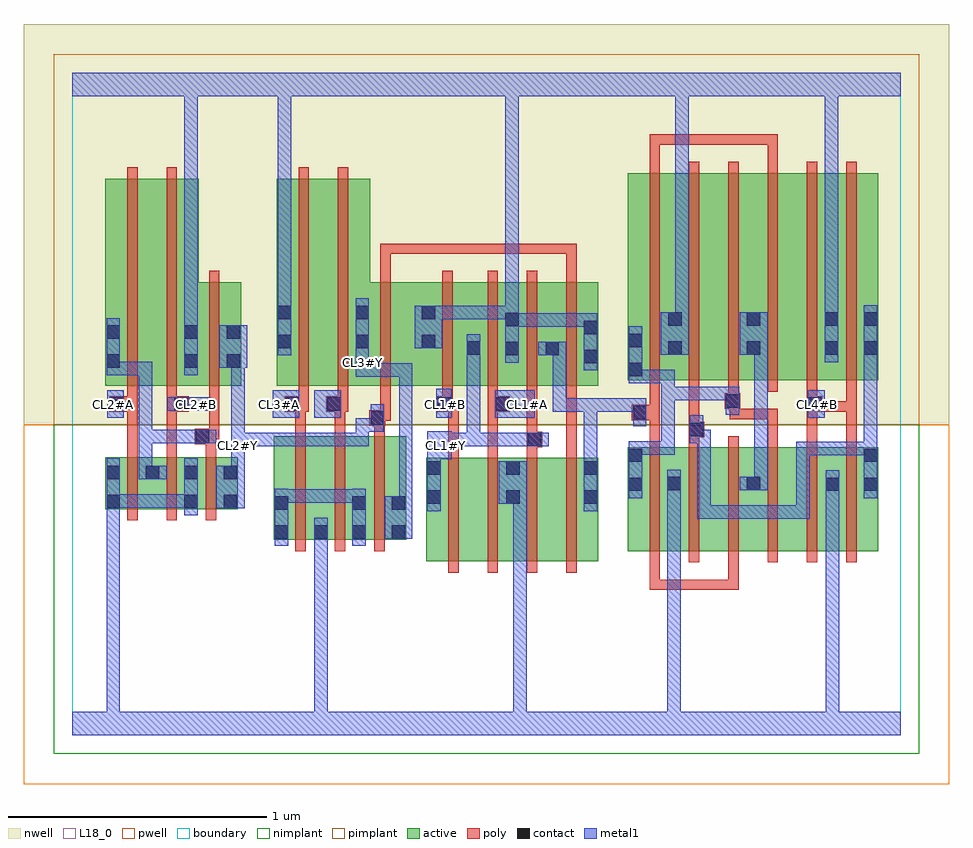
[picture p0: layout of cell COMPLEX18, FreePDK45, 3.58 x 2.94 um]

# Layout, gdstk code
import gdstk
lib = gdstk.Library(unit=1e-6, precision=1e-09)
def R(c, l, rs):  # rectangles x0, y0, x1, y1
    for r in rs: c.add(gdstk.rectangle(r[:2], r[2:], *l))
def A(c, l, x, y, w, h, nx, ny, dx, dy):  # array of equal rectangles
    R(c, l, [(x+i*dx, y+j*dy, x+i*dx+w, y+j*dy+h) for i in range(nx) for j in range(ny)])
active = (1, 0)
pwell = (2, 0)
nwell = (3, 0)
nimplant = (4, 0)
pimplant = (5, 0)
poly = (9, 0)
contact = (10, 0)
metal1 = (11, 0)
L18_0 = (18, 0)
boundary = (235, 0)

complex18 = lib.new_cell('COMPLEX18')
R(complex18, active, [(1.368,0.672,1.548,1.072), (1.548,0.672,1.732,1.072), (1.672,0.672,1.852,1.072), (1.852,0.672,2.032,1.072), (2.146,0.712,2.354,1.112), (2.294,0.712,2.478,1.112), (2.478,0.712,2.662,1.112), (2.602,0.712,2.782,1.112), (2.782,0.712,2.966,1.112), (2.906,0.712,3.114,1.112), (0.778,0.756,0.838,1.156), (0.778,0.756,0.99,1.156), (0.93,0.756,1.138,1.156), (0.93,0.756,0.99,1.156), (1.078,0.756,1.138,1.156), (1.078,0.756,1.29,1.156), (1.23,0.756,1.29,1.156), (1.368,0.756,1.428,1.072), (1.672,0.756,1.732,1.072), (1.972,0.756,2.032,1.072), (2.146,0.756,2.206,1.112), (2.294,0.756,2.354,1.112), (2.602,0.756,2.662,1.112), (2.906,0.756,2.966,1.112), (3.054,0.756,3.114,1.112), (0.128,0.874,0.188,1.074), (0.128,0.874,0.34,1.074), (0.28,0.874,0.488,1.074), (0.428,0.874,0.488,1.074), (0.428,0.874,0.64,1.074), (0.58,0.874,0.64,1.074), (0.28,0.956,0.34,1.074), (0.128,1.35,0.308,2.15), (0.128,1.35,0.188,2.044), (0.308,1.35,0.488,2.15), (0.428,1.35,0.652,1.75), (0.592,1.35,0.652,1.644), (0.79,1.35,0.97,2.15), (0.79,1.35,0.85,2.044), (0.97,1.35,1.15,2.15), (1.09,1.35,1.15,1.664), (1.09,1.35,1.406,1.75), (1.346,1.35,1.58,1.75), (1.346,1.35,1.406,1.664), (1.52,1.35,1.728,1.75), (1.52,1.35,1.58,1.644), (1.668,1.35,1.728,1.644), (1.668,1.35,1.884,1.75), (1.824,1.35,2.032,1.75), (1.824,1.35,1.884,1.644), (1.972,1.35,2.032,1.644), (2.146,1.372,2.206,2.044), (2.146,1.372,2.358,2.172), (2.298,1.372,2.478,2.172), (2.478,1.372,2.662,2.172), (2.602,1.372,2.782,2.172), (2.782,1.372,2.962,2.172), (2.902,1.372,3.114,2.172), (3.054,1.372,3.114,2.044), (0.428,1.416,0.488,1.644), (2.298,1.466,2.358,2.044), (2.602,1.466,2.662,2.044), (2.902,1.466,2.962,2.044)])
R(complex18, pwell, [(-0.188,-0.188,3.388,1.2)])
R(complex18, nwell, [(-0.188,1.2,3.388,2.748)])
R(complex18, nimplant, [(-0.072,-0.072,3.272,1.2)])
R(complex18, pimplant, [(-0.072,1.2,3.272,2.632)])
A(complex18, poly, 1.452, 0.628, 0.04, 0.488, 4, 1, 0.152, 0)
A(complex18, poly, 2.23, 0.668, 0.04, 0.488, 6, 1, 0.152, 0)
A(complex18, poly, 0.862, 0.712, 0.04, 0.488, 3, 1, 0.152, 0)
A(complex18, poly, 0.212, 0.83, 0.04, 0.288, 3, 1, 0.152, 0)
A(complex18, poly, 1.604, 1.306, 0.04, 0.488, 3, 1, 0.152, 0)
A(complex18, poly, 2.23, 1.328, 0.04, 0.888, 6, 1, 0.152, 0)
R(complex18, poly, [(2.23,0.562,2.27,0.602), (2.23,0.562,2.27,0.602), (2.23,0.562,2.27,0.602), (2.23,0.562,2.27,0.708), (2.23,0.562,2.454,0.602), (2.414,0.562,2.454,0.602), (2.414,0.562,2.454,0.602), (2.414,0.562,2.454,0.602), (2.414,0.562,2.574,0.602), (2.534,0.562,2.574,0.602), (2.534,0.562,2.574,0.708), (1.452,1.076,1.492,1.29), (1.604,1.076,1.644,1.29), (1.756,1.076,1.796,1.152), (1.908,1.076,1.948,1.31), (0.212,1.078,0.252,1.29), (0.364,1.078,0.404,1.29), (0.516,1.078,0.556,1.164), (1.756,1.112,1.816,1.172), (2.23,1.116,2.27,1.258), (2.382,1.116,2.422,1.192), (2.686,1.116,2.726,1.262), (2.838,1.116,2.878,1.29), (2.99,1.116,3.03,1.29), (0.472,1.124,0.556,1.184), (1.756,1.132,1.796,1.172), (1.756,1.132,1.796,1.172), (1.756,1.132,1.796,1.346), (0.516,1.144,0.556,1.184), (0.516,1.144,0.568,1.184), (0.528,1.144,0.568,1.346), (2.382,1.152,2.442,1.212), (0.862,1.16,0.902,1.29), (1.014,1.16,1.054,1.29), (1.166,1.16,1.206,1.236), (2.382,1.172,2.422,1.212), (2.382,1.172,2.422,1.212), (2.382,1.172,2.422,1.368), (1.148,1.196,1.208,1.256), (1.168,1.216,1.208,1.256), (1.168,1.216,1.23,1.256), (1.19,1.216,1.23,1.346), (2.162,1.218,2.27,1.278), (2.23,1.218,2.27,1.258), (2.23,1.218,2.27,1.258), (2.54,1.222,2.726,1.262), (2.54,1.222,2.58,1.302), (2.686,1.222,2.726,1.262), (2.686,1.222,2.726,1.262), (2.686,1.222,2.726,1.262), (2.23,1.238,2.27,1.368), (0.142,1.25,0.252,1.31), (0.364,1.25,0.404,1.29), (0.364,1.25,0.404,1.29), (0.364,1.25,0.45,1.31), (0.82,1.25,0.914,1.31), (0.862,1.25,0.902,1.29), (0.862,1.25,0.902,1.29), (0.98,1.25,1.066,1.31), (1.014,1.25,1.054,1.29), (1.014,1.25,1.054,1.29), (1.41,1.25,1.47,1.31), (1.43,1.25,1.47,1.29), (1.43,1.25,1.492,1.29), (1.604,1.25,1.644,1.29), (1.604,1.25,1.644,1.29), (1.604,1.25,1.69,1.31), (2.838,1.25,2.878,1.29), (2.838,1.25,2.878,1.29), (2.838,1.25,2.878,1.29), (2.838,1.25,2.878,1.29), (2.838,1.25,3.03,1.29), (2.838,1.25,2.898,1.31), (2.99,1.25,3.03,1.368), (2.99,1.25,3.03,1.29), (2.99,1.25,3.03,1.29), (2.99,1.25,3.03,1.29), (2.52,1.262,2.58,1.322), (2.54,1.262,2.58,1.302), (0.212,1.27,0.252,1.31), (0.212,1.27,0.252,1.31), (0.212,1.27,0.252,1.346), (0.364,1.27,0.404,1.346), (0.874,1.27,0.914,1.346), (1.026,1.27,1.066,1.346), (1.43,1.27,1.47,1.346), (1.604,1.27,1.644,1.346), (1.908,1.27,1.948,1.31), (1.908,1.27,1.948,1.31), (1.908,1.27,1.948,1.31), (1.908,1.27,1.948,1.346), (2.838,1.27,2.878,1.368), (2.534,1.282,2.574,1.368), (0.212,1.306,0.252,2.194), (0.364,1.306,0.404,2.194), (0.528,1.306,0.568,1.794), (0.874,1.306,0.914,2.194), (1.026,1.306,1.066,2.194), (1.19,1.306,1.23,1.794), (1.43,1.306,1.47,1.794), (1.19,1.754,1.23,1.9), (1.908,1.754,1.948,1.9), (1.19,1.86,1.23,1.9), (1.19,1.86,1.23,1.9), (1.19,1.86,1.23,1.9), (1.19,1.86,1.336,1.9), (1.296,1.86,1.336,1.9), (1.296,1.86,1.336,1.9), (1.296,1.86,1.336,1.9), (1.296,1.86,1.572,1.9), (1.532,1.86,1.572,1.9), (1.532,1.86,1.572,1.9), (1.532,1.86,1.572,1.9), (1.532,1.86,1.678,1.9), (1.638,1.86,1.678,1.9), (1.638,1.86,1.678,1.9), (1.638,1.86,1.678,1.9), (1.638,1.86,1.948,1.9), (1.908,1.86,1.948,1.9), (1.908,1.86,1.948,1.9), (1.908,1.86,1.948,1.9), (2.23,2.176,2.27,2.322), (2.686,2.176,2.726,2.322), (2.23,2.282,2.27,2.322), (2.23,2.282,2.27,2.322), (2.23,2.282,2.27,2.322), (2.23,2.282,2.454,2.322), (2.414,2.282,2.454,2.322), (2.414,2.282,2.454,2.322), (2.414,2.282,2.454,2.322), (2.414,2.282,2.62,2.322), (2.58,2.282,2.62,2.322), (2.58,2.282,2.62,2.322), (2.58,2.282,2.62,2.322), (2.58,2.282,2.726,2.322), (2.686,2.282,2.726,2.322)])
R(complex18, contact, [(0.782,0.76,0.834,0.812), (0.934,0.76,0.986,0.812), (1.082,0.76,1.134,0.812), (1.234,0.76,1.286,0.812), (0.782,0.872,0.834,0.924), (1.082,0.872,1.134,0.924), (1.234,0.872,1.286,0.924), (0.132,0.878,0.184,0.93), (0.432,0.878,0.484,0.93), (0.584,0.878,0.636,0.93), (1.372,0.894,1.424,0.946), (1.676,0.894,1.728,0.946), (1.976,0.894,2.028,0.946), (2.15,0.944,2.202,0.996), (2.91,0.944,2.962,0.996), (3.058,0.944,3.11,0.996), (2.298,0.946,2.35,0.998), (2.606,0.946,2.658,0.998), (0.132,0.99,0.184,1.042), (0.284,0.99,0.336,1.042), (0.432,0.99,0.484,1.042), (0.584,0.99,0.636,1.042), (1.372,1.006,1.424,1.058), (1.676,1.006,1.728,1.058), (1.976,1.006,2.028,1.058), (2.15,1.056,2.202,1.108), (3.058,1.056,3.11,1.108), (1.76,1.116,1.812,1.168), (0.476,1.128,0.528,1.18), (2.386,1.156,2.438,1.208), (1.152,1.2,1.204,1.252), (2.166,1.222,2.218,1.274), (0.146,1.254,0.198,1.306), (0.394,1.254,0.446,1.306), (0.824,1.254,0.876,1.306), (0.984,1.254,1.036,1.306), (1.414,1.254,1.466,1.306), (1.634,1.254,1.686,1.306), (2.842,1.254,2.894,1.306), (2.524,1.266,2.576,1.318), (2.15,1.388,2.202,1.44), (0.132,1.42,0.184,1.472), (0.432,1.42,0.484,1.472), (0.596,1.42,0.648,1.472), (1.976,1.438,2.028,1.49), (1.672,1.468,1.724,1.52), (1.828,1.468,1.88,1.52), (1.524,1.47,1.576,1.522), (2.302,1.47,2.354,1.522), (2.606,1.47,2.658,1.522), (2.906,1.47,2.958,1.522), (3.058,1.47,3.11,1.522), (0.794,1.496,0.846,1.548), (1.094,1.496,1.146,1.548), (1.35,1.496,1.402,1.548), (2.15,1.5,2.202,1.552), (0.132,1.532,0.184,1.584), (0.432,1.532,0.484,1.584), (0.596,1.532,0.648,1.584), (1.976,1.55,2.028,1.602), (1.672,1.58,1.724,1.632), (2.302,1.582,2.354,1.634), (2.606,1.582,2.658,1.634), (2.906,1.582,2.958,1.634), (3.058,1.582,3.11,1.634), (0.794,1.608,0.846,1.66), (1.094,1.608,1.146,1.66), (1.35,1.608,1.402,1.66)])
A(complex18, metal1, 2.576, 0.836, 0.052, 0.052, 3, 1, 0.11, 0)
R(complex18, metal1, [(0,0,3.2,0.092), (0.132,0.04,0.184,0.902), (0.934,0.04,0.986,0.092), (0.934,0.04,0.986,0.092), (0.934,0.04,0.986,0.092), (0.934,0.04,0.986,0.092), (0.934,0.04,0.986,0.092), (0.934,0.04,0.986,0.092), (0.934,0.04,0.986,0.092), (0.934,0.04,0.986,0.092), (0.934,0.04,0.986,0.092), (0.934,0.04,0.986,0.092), (0.934,0.04,0.986,0.784), (1.704,0.04,1.756,0.092), (1.704,0.04,1.756,0.092), (1.704,0.04,1.756,0.092), (1.704,0.04,1.756,0.092), (1.704,0.04,1.756,0.092), (1.704,0.04,1.756,0.092), (1.704,0.04,1.756,0.092), (1.704,0.04,1.756,0.092), (1.704,0.04,1.756,0.092), (1.704,0.04,1.756,0.092), (1.704,0.04,1.756,0.092), (1.704,0.04,1.756,0.092), (1.704,0.04,1.756,0.946), (2.298,0.04,2.35,0.092), (2.298,0.04,2.35,0.092), (2.298,0.04,2.35,0.092), (2.298,0.04,2.35,0.092), (2.298,0.04,2.35,0.092), (2.298,0.04,2.35,0.092), (2.298,0.04,2.35,0.97), (2.91,0.04,2.962,0.092), (2.91,0.04,2.962,0.092), (2.91,0.04,2.962,0.092), (2.91,0.04,2.962,0.092), (2.91,0.04,2.962,0.092), (2.91,0.04,2.962,0.092), (2.91,0.04,2.962,0.092), (2.91,0.04,2.962,0.092), (2.91,0.04,2.962,0.092), (2.91,0.04,2.962,0.092), (2.91,0.04,2.962,0.092), (2.91,0.04,2.962,0.092), (2.91,0.04,2.962,0.968), (0.782,0.732,0.834,0.952), (0.934,0.732,0.986,0.784), (0.934,0.732,0.986,0.784), (0.934,0.732,0.986,0.84), (1.082,0.732,1.134,0.952), (1.206,0.76,1.314,0.924), (2.414,0.836,2.466,0.888), (2.414,0.836,2.628,0.888), (2.414,0.836,2.466,1.18), (2.576,0.836,2.628,0.888), (2.576,0.836,2.628,0.888), (2.576,0.836,2.738,0.888), (2.686,0.836,2.848,0.888), (2.796,0.836,2.848,1.134), (0.132,0.85,0.184,0.902), (0.132,0.85,0.184,0.902), (0.132,0.85,0.184,0.902), (0.132,0.85,0.184,0.902), (0.132,0.85,0.184,0.902), (0.132,0.85,0.184,0.902), (0.132,0.85,0.184,0.902), (0.132,0.85,0.184,0.902), (0.132,0.85,0.184,0.902), (0.132,0.85,0.184,0.902), (0.132,0.85,0.184,0.902), (0.132,0.85,0.184,0.902), (0.132,0.85,0.184,0.902), (0.132,0.85,0.184,0.902), (0.132,0.85,0.184,0.902), (0.132,0.85,0.184,0.902), (0.132,0.85,0.184,1.07), (0.432,0.85,0.484,1.07), (1.372,0.866,1.424,1.086), (1.976,0.866,2.028,1.086), (1.262,0.872,1.314,0.924), (1.262,0.872,1.314,0.924), (1.262,0.872,1.314,1.438), (0.556,0.878,0.666,1.042), (0.132,0.88,0.184,0.932), (0.132,0.88,0.184,0.932), (0.132,0.88,0.374,0.932), (0.322,0.88,0.374,0.932), (0.322,0.88,0.374,0.932), (0.322,0.88,0.374,0.932), (0.322,0.88,0.484,0.932), (1.648,0.894,1.756,1.058), (0.782,0.898,0.834,0.95), (0.782,0.898,0.834,0.95), (0.782,0.898,1.024,0.95), (0.972,0.898,1.024,0.95), (0.972,0.898,1.024,0.95), (0.972,0.898,1.024,0.95), (0.972,0.898,1.134,0.95), (2.15,0.916,2.202,1.136), (2.91,0.916,2.962,1.024), (3.058,0.916,3.11,1.136), (2.298,0.918,2.35,0.97), (2.298,0.918,2.35,0.97), (2.298,0.918,2.35,0.97), (2.298,0.918,2.35,0.97), (2.298,0.918,2.35,0.97), (2.298,0.918,2.35,0.97), (2.298,0.918,2.35,1.026), (2.578,0.946,2.686,0.998), (2.634,0.946,2.686,1.522), (0.256,0.99,0.364,1.042), (0.256,0.99,0.308,1.18), (0.614,0.99,0.666,1.118), (1.372,1.034,1.424,1.118), (1.976,1.034,2.028,1.302), (0.614,1.066,0.666,1.174), (1.372,1.066,1.466,1.174), (2.796,1.082,2.848,1.134), (2.796,1.082,2.848,1.134), (2.796,1.082,2.848,1.134), (2.796,1.082,2.958,1.134), (2.906,1.082,2.958,1.134), (2.906,1.082,2.958,1.134), (2.906,1.082,2.958,1.134), (2.906,1.082,3.11,1.134), (2.15,1.084,2.202,1.136), (2.15,1.084,2.202,1.136), (2.15,1.084,2.328,1.136), (2.276,1.084,2.328,1.136), (2.276,1.084,2.328,1.346), (3.058,1.084,3.11,1.494), (0.614,1.116,0.876,1.168), (0.824,1.116,0.876,1.168), (0.824,1.116,0.876,1.168), (0.824,1.116,0.876,1.168), (0.824,1.116,0.986,1.168), (0.934,1.116,0.986,1.168), (0.934,1.116,0.986,1.168), (0.934,1.116,0.986,1.168), (0.934,1.116,1.146,1.168), (1.094,1.116,1.146,1.224), (1.414,1.116,1.466,1.168), (1.414,1.116,1.466,1.168), (1.414,1.116,1.576,1.168), (1.524,1.116,1.576,1.168), (1.524,1.116,1.576,1.168), (1.524,1.116,1.576,1.168), (1.524,1.116,1.7,1.168), (1.524,1.116,1.576,1.494), (1.648,1.116,1.7,1.168), (1.648,1.116,1.784,1.168), (1.732,1.116,1.84,1.168), (0.614,1.122,0.666,1.174), (0.614,1.122,0.666,1.174), (0.614,1.122,0.666,1.472), (0.256,1.128,0.308,1.18), (0.256,1.128,0.308,1.18), (0.256,1.128,0.308,1.18), (0.256,1.128,0.498,1.18), (0.256,1.128,0.308,1.444), (0.446,1.128,0.498,1.18), (0.446,1.128,0.5,1.18), (0.448,1.128,0.556,1.18), (2.386,1.128,2.438,1.236), (2.386,1.128,2.466,1.18), (2.414,1.128,2.466,1.18), (2.414,1.128,2.466,1.18), (2.414,1.128,2.466,1.18), (1.094,1.172,1.204,1.224), (1.152,1.172,1.204,1.28), (2.166,1.194,2.218,1.302), (0.134,1.226,0.198,1.334), (0.774,1.226,0.876,1.334), (0.934,1.226,1.036,1.334), (1.406,1.226,1.466,1.338), (1.634,1.226,1.786,1.334), (2.842,1.226,2.906,1.334), (2.524,1.238,2.576,1.346), (1.856,1.25,1.908,1.302), (1.856,1.25,2.028,1.302), (1.856,1.25,1.908,1.52), (1.976,1.25,2.028,1.302), (1.976,1.25,2.028,1.302), (1.976,1.25,2.028,1.302), (1.976,1.25,2.028,1.302), (1.976,1.25,2.028,1.302), (1.976,1.25,2.138,1.302), (2.086,1.25,2.138,1.302), (2.086,1.25,2.218,1.302), (0.366,1.254,0.534,1.306), (2.276,1.294,2.328,1.346), (2.276,1.294,2.328,1.346), (2.276,1.294,2.328,1.346), (2.276,1.294,2.328,1.346), (2.276,1.294,2.328,1.346), (2.276,1.294,2.518,1.346), (2.276,1.294,2.328,1.412), (2.466,1.294,2.518,1.346), (2.466,1.294,2.576,1.346), (2.15,1.36,2.202,1.412), (2.15,1.36,2.202,1.412), (2.15,1.36,2.202,1.58), (2.15,1.36,2.328,1.412), (2.276,1.36,2.328,1.412), (1.094,1.386,1.146,1.438), (1.094,1.386,1.146,1.438), (1.094,1.386,1.146,1.494), (1.094,1.386,1.314,1.438), (1.262,1.386,1.314,1.438), (0.132,1.392,0.184,1.444), (0.132,1.392,0.184,1.444), (0.132,1.392,0.184,1.444), (0.132,1.392,0.184,1.444), (0.132,1.392,0.184,1.612), (0.132,1.392,0.308,1.444), (0.256,1.392,0.308,1.444), (0.432,1.392,0.484,1.612), (1.976,1.41,2.028,1.63), (0.568,1.42,0.676,1.584), (1.672,1.44,1.724,1.66), (1.094,1.442,1.146,1.52), (1.524,1.442,1.576,1.494), (1.524,1.442,1.576,1.494), (1.524,1.442,1.576,1.55), (2.906,1.442,2.958,1.662), (3.058,1.442,3.11,1.494), (3.058,1.442,3.11,1.494), (3.058,1.442,3.11,1.494), (3.058,1.442,3.11,1.494), (3.058,1.442,3.11,1.662), (0.794,1.468,0.846,1.688), (1.094,1.468,1.146,1.688), (1.8,1.468,1.908,1.52), (2.274,1.47,2.382,1.634), (2.578,1.47,2.686,1.634), (2.634,1.47,2.686,1.522), (2.634,1.47,2.686,1.522), (2.634,1.47,2.686,1.522), (2.634,1.47,2.686,1.522), (1.322,1.496,1.43,1.66), (0.432,1.56,0.484,2.52), (1.672,1.578,1.724,1.63), (1.672,1.578,1.724,1.63), (1.672,1.578,1.834,1.63), (1.782,1.578,1.834,1.63), (1.782,1.578,2.028,1.63), (1.976,1.578,2.028,1.63), (1.976,1.578,2.028,1.63), (2.33,1.582,2.382,2.52), (1.378,1.608,1.43,1.66), (1.378,1.608,1.43,1.66), (1.378,1.608,1.59,1.66), (1.538,1.608,1.59,1.66), (1.538,1.608,1.59,1.66), (1.538,1.608,1.59,1.66), (1.538,1.608,1.724,1.66), (1.672,1.608,1.724,2.52), (2.906,1.61,2.958,1.662), (2.906,1.61,2.958,1.662), (2.906,1.61,2.958,1.662), (2.906,1.61,2.958,1.662), (2.906,1.61,2.958,1.662), (2.906,1.61,2.958,1.662), (2.906,1.61,2.958,2.52), (0.794,1.636,0.846,2.52), (0,2.468,3.2,2.56), (0.432,2.468,0.484,2.52), (0.432,2.468,0.484,2.52), (0.432,2.468,0.484,2.52), (0.432,2.468,0.484,2.52), (0.432,2.468,0.484,2.52), (0.432,2.468,0.484,2.52), (0.432,2.468,0.484,2.52), (0.432,2.468,0.484,2.52), (0.794,2.468,0.846,2.52), (0.794,2.468,0.846,2.52), (0.794,2.468,0.846,2.52), (0.794,2.468,0.846,2.52), (0.794,2.468,0.846,2.52), (0.794,2.468,0.846,2.52), (0.794,2.468,0.846,2.52), (0.794,2.468,0.846,2.52), (1.672,2.468,1.724,2.52), (1.672,2.468,1.724,2.52), (1.672,2.468,1.724,2.52), (1.672,2.468,1.724,2.52), (1.672,2.468,1.724,2.52), (1.672,2.468,1.724,2.52), (1.672,2.468,1.724,2.52), (1.672,2.468,1.724,2.52), (1.672,2.468,1.724,2.52), (1.672,2.468,1.724,2.52), (1.672,2.468,1.724,2.52), (1.672,2.468,1.724,2.52), (1.672,2.468,1.724,2.52), (1.672,2.468,1.724,2.52), (1.672,2.468,1.724,2.52), (1.672,2.468,1.724,2.52), (2.33,2.468,2.382,2.52), (2.33,2.468,2.382,2.52), (2.33,2.468,2.382,2.52), (2.33,2.468,2.382,2.52), (2.33,2.468,2.382,2.52), (2.33,2.468,2.382,2.52), (2.33,2.468,2.382,2.52), (2.33,2.468,2.382,2.52), (2.906,2.468,2.958,2.52), (2.906,2.468,2.958,2.52)])
A(complex18, L18_0, 0.134, 1.254, 0.052, 0.052, 3, 1, 0.32, 0)
R(complex18, L18_0, [(0,0,3.2,0.092), (0.132,0.04,0.184,0.902), (0.934,0.04,0.986,0.092), (0.934,0.04,0.986,0.092), (0.934,0.04,0.986,0.092), (0.934,0.04,0.986,0.092), (0.934,0.04,0.986,0.092), (0.934,0.04,0.986,0.092), (0.934,0.04,0.986,0.092), (0.934,0.04,0.986,0.092), (0.934,0.04,0.986,0.092), (0.934,0.04,0.986,0.092), (0.934,0.04,0.986,0.784), (1.704,0.04,1.756,0.092), (1.704,0.04,1.756,0.092), (1.704,0.04,1.756,0.092), (1.704,0.04,1.756,0.092), (1.704,0.04,1.756,0.092), (1.704,0.04,1.756,0.092), (1.704,0.04,1.756,0.092), (1.704,0.04,1.756,0.092), (1.704,0.04,1.756,0.092), (1.704,0.04,1.756,0.092), (1.704,0.04,1.756,0.092), (1.704,0.04,1.756,0.092), (1.704,0.04,1.756,0.946), (2.298,0.04,2.35,0.092), (2.298,0.04,2.35,0.092), (2.298,0.04,2.35,0.092), (2.298,0.04,2.35,0.092), (2.298,0.04,2.35,0.092), (2.298,0.04,2.35,0.092), (2.298,0.04,2.35,0.97), (2.91,0.04,2.962,0.092), (2.91,0.04,2.962,0.092), (2.91,0.04,2.962,0.092), (2.91,0.04,2.962,0.092), (2.91,0.04,2.962,0.092), (2.91,0.04,2.962,0.092), (2.91,0.04,2.962,0.092), (2.91,0.04,2.962,0.092), (2.91,0.04,2.962,0.092), (2.91,0.04,2.962,0.092), (2.91,0.04,2.962,0.092), (2.91,0.04,2.962,0.092), (2.91,0.04,2.962,0.968), (0.934,0.732,0.986,0.784), (0.934,0.732,0.986,0.784), (0.934,0.732,0.986,0.84), (1.206,0.76,1.314,0.924), (0.132,0.85,0.184,0.902), (0.132,0.85,0.184,0.902), (0.132,0.85,0.184,0.902), (0.132,0.85,0.184,0.902), (0.132,0.85,0.184,0.902), (0.132,0.85,0.184,0.902), (0.132,0.85,0.184,0.902), (0.132,0.85,0.184,0.902), (0.132,0.85,0.184,0.902), (0.132,0.85,0.184,0.902), (0.132,0.85,0.184,0.902), (0.132,0.85,0.184,0.902), (0.132,0.85,0.184,0.902), (0.132,0.85,0.184,0.902), (0.132,0.85,0.184,0.902), (0.132,0.85,0.184,0.902), (0.132,0.85,0.184,1.07), (0.432,0.85,0.484,1.07), (1.372,0.866,1.424,1.086), (1.262,0.872,1.314,0.924), (1.262,0.872,1.314,0.924), (1.262,0.872,1.314,1.438), (0.556,0.878,0.666,1.042), (0.132,0.88,0.184,0.932), (0.132,0.88,0.184,0.932), (0.132,0.88,0.374,0.932), (0.322,0.88,0.374,0.932), (0.322,0.88,0.374,0.932), (0.322,0.88,0.374,0.932), (0.322,0.88,0.484,0.932), (1.648,0.894,1.756,1.058), (2.91,0.916,2.962,1.024), (2.298,0.918,2.35,0.97), (2.298,0.918,2.35,0.97), (2.298,0.918,2.35,0.97), (2.298,0.918,2.35,0.97), (2.298,0.918,2.35,0.97), (2.298,0.918,2.35,0.97), (2.298,0.918,2.35,1.026), (0.614,0.99,0.666,1.118), (1.372,1.034,1.424,1.118), (0.614,1.066,0.666,1.174), (1.372,1.066,1.466,1.174), (0.614,1.094,0.666,1.146), (1.414,1.094,1.466,1.146), (0.614,1.116,0.876,1.168), (0.824,1.116,0.876,1.168), (0.824,1.116,0.876,1.168), (0.824,1.116,0.876,1.168), (0.824,1.116,0.986,1.168), (0.934,1.116,0.986,1.168), (0.934,1.116,0.986,1.168), (0.934,1.116,0.986,1.168), (0.934,1.116,1.146,1.168), (1.094,1.116,1.146,1.224), (1.414,1.116,1.466,1.168), (1.414,1.116,1.466,1.168), (1.414,1.116,1.576,1.168), (1.524,1.116,1.576,1.168), (1.524,1.116,1.576,1.168), (1.524,1.116,1.576,1.168), (1.524,1.116,1.576,1.494), (1.524,1.116,1.7,1.168), (1.648,1.116,1.7,1.168), (1.648,1.116,1.784,1.168), (1.732,1.116,1.84,1.168), (0.614,1.122,0.666,1.174), (0.614,1.122,0.666,1.174), (0.614,1.122,0.666,1.472), (1.094,1.172,1.204,1.224), (1.152,1.172,1.204,1.28), (0.134,1.226,0.198,1.334), (0.774,1.226,0.876,1.334), (0.934,1.226,1.036,1.334), (1.406,1.226,1.466,1.338), (1.634,1.226,1.786,1.334), (2.842,1.226,2.906,1.334), (0.366,1.254,0.534,1.306), (0.934,1.254,0.986,1.306), (1.414,1.254,1.466,1.306), (1.734,1.254,1.786,1.306), (2.854,1.254,2.906,1.306), (1.094,1.386,1.146,1.438), (1.094,1.386,1.146,1.438), (1.094,1.386,1.146,1.494), (1.094,1.386,1.314,1.438), (1.262,1.386,1.314,1.438), (0.432,1.392,0.484,1.612), (1.976,1.41,2.028,1.63), (1.094,1.414,1.146,1.466), (0.568,1.42,0.676,1.584), (1.672,1.44,1.724,1.66), (1.094,1.442,1.146,1.52), (1.524,1.442,1.576,1.494), (1.524,1.442,1.576,1.494), (1.524,1.442,1.576,1.55), (2.906,1.442,2.958,1.662), (0.794,1.468,0.846,1.688), (1.094,1.468,1.146,1.688), (2.274,1.47,2.382,1.634), (1.322,1.496,1.43,1.66), (0.432,1.56,0.484,2.52), (1.672,1.578,1.724,1.63), (1.672,1.578,1.724,1.63), (1.672,1.578,1.834,1.63), (1.782,1.578,1.834,1.63), (1.782,1.578,2.028,1.63), (1.976,1.578,2.028,1.63), (1.976,1.578,2.028,1.63), (2.33,1.582,2.382,2.52), (1.378,1.608,1.43,1.66), (1.378,1.608,1.43,1.66), (1.378,1.608,1.59,1.66), (1.538,1.608,1.59,1.66), (1.538,1.608,1.59,1.66), (1.538,1.608,1.59,1.66), (1.538,1.608,1.724,1.66), (1.672,1.608,1.724,2.52), (2.906,1.61,2.958,1.662), (2.906,1.61,2.958,1.662), (2.906,1.61,2.958,1.662), (2.906,1.61,2.958,1.662), (2.906,1.61,2.958,1.662), (2.906,1.61,2.958,1.662), (2.906,1.61,2.958,2.52), (0.794,1.636,0.846,2.52), (0,2.468,3.2,2.56), (0.432,2.468,0.484,2.52), (0.432,2.468,0.484,2.52), (0.432,2.468,0.484,2.52), (0.432,2.468,0.484,2.52), (0.432,2.468,0.484,2.52), (0.432,2.468,0.484,2.52), (0.432,2.468,0.484,2.52), (0.432,2.468,0.484,2.52), (0.794,2.468,0.846,2.52), (0.794,2.468,0.846,2.52), (0.794,2.468,0.846,2.52), (0.794,2.468,0.846,2.52), (0.794,2.468,0.846,2.52), (0.794,2.468,0.846,2.52), (0.794,2.468,0.846,2.52), (0.794,2.468,0.846,2.52), (1.672,2.468,1.724,2.52), (1.672,2.468,1.724,2.52), (1.672,2.468,1.724,2.52), (1.672,2.468,1.724,2.52), (1.672,2.468,1.724,2.52), (1.672,2.468,1.724,2.52), (1.672,2.468,1.724,2.52), (1.672,2.468,1.724,2.52), (1.672,2.468,1.724,2.52), (1.672,2.468,1.724,2.52), (1.672,2.468,1.724,2.52), (1.672,2.468,1.724,2.52), (1.672,2.468,1.724,2.52), (1.672,2.468,1.724,2.52), (1.672,2.468,1.724,2.52), (1.672,2.468,1.724,2.52), (2.33,2.468,2.382,2.52), (2.33,2.468,2.382,2.52), (2.33,2.468,2.382,2.52), (2.33,2.468,2.382,2.52), (2.33,2.468,2.382,2.52), (2.33,2.468,2.382,2.52), (2.33,2.468,2.382,2.52), (2.33,2.468,2.382,2.52), (2.906,2.468,2.958,2.52), (2.906,2.468,2.958,2.52)])
R(complex18, boundary, [(0,0,3.2,2.56)])
complex18.add(gdstk.Label('CL1#A', (1.76,1.28), layer=11, texttype=0))
complex18.add(gdstk.Label('CL1#B', (1.44,1.28), layer=11, texttype=0))
complex18.add(gdstk.Label('CL1#Y', (1.44,1.12), layer=11, texttype=0))
complex18.add(gdstk.Label('CL2#A', (0.16,1.28), layer=11, texttype=0))
complex18.add(gdstk.Label('CL2#B', (0.48,1.28), layer=11, texttype=0))
complex18.add(gdstk.Label('CL2#Y', (0.64,1.12), layer=11, texttype=0))
complex18.add(gdstk.Label('CL3#A', (0.8,1.28), layer=11, texttype=0))
complex18.add(gdstk.Label('CL3#B', (0.96,1.28), layer=11, texttype=0))
complex18.add(gdstk.Label('CL3#Y', (1.12,1.44), layer=11, texttype=0))
complex18.add(gdstk.Label('CL4#B', (2.88,1.28), layer=11, texttype=0))

lib.write_gds('COMPLEX18.gds')
